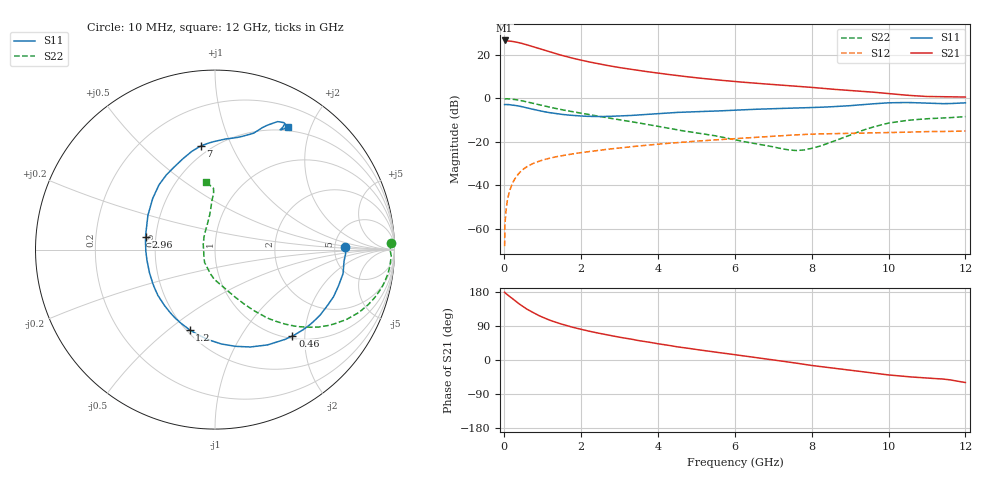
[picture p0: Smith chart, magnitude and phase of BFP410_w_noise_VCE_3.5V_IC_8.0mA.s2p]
! Infineon Technologies  Discrete & RF Semiconductors
! BFP410
! VCE =  3.5 V,  IC =  8.0 mA
! Common Emitter S-Parameters:  Nov 2015
# GHz  S  MA  R  50
!  f  S11  S21  S12  S22
! GHz  MAG  ANG  MAG  ANG  MAG  ANG  MAG  ANG
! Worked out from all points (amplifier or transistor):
!   243 points, 10 MHz to 12 GHz, reference 50 ohm
!   highest |S21| = 26.7 dB at 10 MHz (marker M1)
!   |S21| within 3 dB of that: start of sweep to 772.4 MHz
!   unconditionally stable (mu >= 1): start of sweep to 15.17 MHz; 2.634 GHz to end of sweep
!   at 240 MHz: K = 0.17, MSG = 32.1 dB, |S12| = -38.1 dB
!   at 1.84 GHz: K = 0.78, MSG = 21.8 dB, |S12| = -25.4 dB
!   at 12 GHz: K = 1.04, MAG = 6.5 dB, |S12| = -15.0 dB
!   lowest NFmin = 1.18 dB at 900 MHz
!   S11 on the Smith chart (normalised r, x): 10 MHz: 6.21, +0.43; 460 MHz: 1.05, -1.74; 1.2 GHz: 0.52, -0.59; 2.96 GHz: 0.44, +0.08; 7 GHz: 0.44, +0.77; 12 GHz: 0.45, +1.67
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0.01  0.7238 1.3  21.59 178.9  0.0004 5.4  0.982 2.1
0.02  0.7282 -1.7  21.37 177.6  0.0013 69.9  0.9752 -0.1
0.065  0.7224 -6.8  21.11 173.7  0.0036 80.9  0.9815 -2.9
0.15  0.7174 -16.2  20.84 166.9  0.0079 80.0  0.9735 -7.7
0.26  0.6969 -27.8  20.12 157.9  0.0134 75.8  0.9496 -13.4
0.38  0.6686 -40.2  19.19 148.8  0.0188 71.1  0.9123 -19.0
0.46  0.6465 -48.1  18.44 143.1  0.0221 68.3  0.8845 -22.4
0.6  0.6065 -61.1  17.02 133.6  0.0272 63.8  0.8314 -27.8
0.7  0.5774 -70.0  16.03 127.8  0.0304 61.0  0.7928 -31.1
0.92  0.522 -87.5  13.92 116.4  0.0364 56.1  0.7134 -37.2
1.2  0.4688 -107.6  11.68 104.5  0.0426 51.9  0.6254 -43.2
1.58  0.4232 -130.0  9.377 92.0  0.0496 48.0  0.5338 -49.0
2.02  0.394 -151.8  7.535 80.6  0.0571 45.0  0.4561 -53.9
2.4  0.384 -169.1  6.406 71.9  0.0633 42.6  0.3983 -57.8
2.96  0.3932 169.4  5.208 60.9  0.0722 39.3  0.327 -63.2
4.1  0.4537 138.5  3.728 41.4  0.0904 32.5  0.2205 -76.1
5  0.4966 123.1  2.987 27.6  0.1042 26.3  0.1619 -92.4
6.1  0.5413 108.2  2.412 12.6  0.1201 18.8  0.107 -114.5
7  0.5831 97.8  2.091 0.1  0.1351 12.3  0.0771 -143.0
8.2  0.6264 81.9  1.734 -16.9  0.1525 0.3  0.0795 143.1
10.2  0.7994 62.7  1.248 -41.2  0.1652 -14.9  0.2886 92.7
12  0.7932 59.2  1.078 -59.5  0.1778 -30.1  0.3822 97.5
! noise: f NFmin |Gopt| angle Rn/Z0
0.45  1.21  0.12  -6  0.18
0.9  1.18  0.11  12  0.17
1.8  1.32  0.04  55  0.17
2.4  1.3  0.01  -67  0.19
5.5  2.19  0.33  -117  0.24
10  3.37  0.67  -50  1.8
